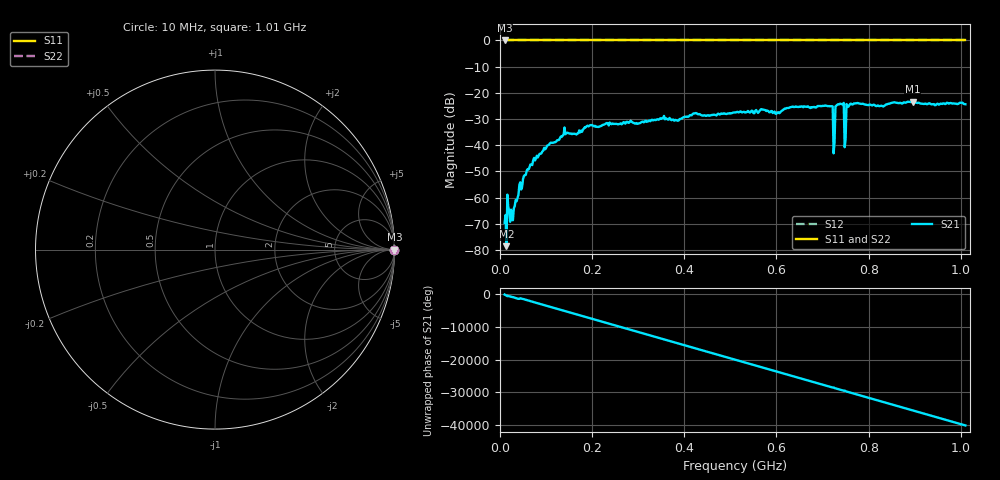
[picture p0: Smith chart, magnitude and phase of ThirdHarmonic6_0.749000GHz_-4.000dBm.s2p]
! 8/16/2025 1:02:45 AM
! C:\ANRITSUVNA\TEMP\TEMP.S2P
! CHANNEL.1
! TR.MEASUREMENT
! RAW.DATA
! RF.CORRECTION.OFF
! AVERAGING.OFF
! IF.BANDWIDTH: 5KHZ
! SWEEPTYPE:  FREQ.SWEEP(Linear)
! Reference Plane Port Info
! PORT:  PORT1  PORT2
! DISTANCE:  0  m  0  m
! TIME:  0  s  0  s
! PHASE.OFFSET:  0  deg.  0  deg.
! LOSS:  0  dB  0  dB
! REF.LOSS:  0  dB  0  dB
! REF.FREQ:  0  Hz  0  Hz
! Power Info
! POWER:  -20  dBm  -20  dBm
! EFF.POWER:  -20  dBm  -20  dBm
! SOURCE.ATTEN:  0  dB  0  dB
! TEST.ATTEN:  0  dB  0  dB
# GHZ S RI R 50.0
! FREQ.GHZ  S11RE  S11IM  S21RE  S21IM  S12RE  S12IM  S22RE  S22IM
!; PortSelection: Port_12
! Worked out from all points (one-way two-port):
!   501 points, 10 MHz to 1.01 GHz, reference 50 ohm
!   highest |S21| = -23.40 dB at 896 MHz (marker M1); lowest = -78.5 dB at 14 MHz (marker M2)
!   lowest |S11| = 0.0 dB at 10 MHz (marker M3)
!   |S11| at or under -10 dB: nowhere
!   |S22| runs from 0.0 to 0.0 dB; largest |S21 - S12| = 1.1
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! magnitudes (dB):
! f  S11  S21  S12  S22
! 10 MHz  0.0  -69.6  0.0  0.0
! 14 MHz  0.0  -78.5  0.0  0.0
! 20 MHz  0.0  -64.8  0.0  0.0
! 26 MHz  0.0  -68.1  0.0  0.0
! 54 MHz  0.0  -51.4  0.0  0.0
! 76 MHz  0.0  -45.8  0.0  0.0
! 142 MHz  0.0  -35.8  0.0  0.0
! 178 MHz  0.0  -34.9  0.0  0.0
! 344 MHz  0.0  -30.2  0.0  0.0
! 510 MHz  0.0  -27.5  0.0  0.0
! 678 MHz  0.0  -25.5  0.0  0.0
! 718 MHz  0.0  -25.1  0.0  0.0
! 724 MHz  0.0  -43.1  0.0  0.0
! 728 MHz  0.0  -25.2  0.0  0.0
! 736 MHz  0.0  -24.4  0.0  0.0
! 742 MHz  0.0  -24.3  0.0  0.0
! 746 MHz  0.0  -23.8  0.0  0.0
! 752 MHz  0.0  -24.3  0.0  0.0
! 756 MHz  0.0  -25.3  0.0  0.0
! 844 MHz  0.0  -24.2  0.0  0.0
! 896 MHz  0.0  -23.4  0.0  0.0
! 1.01 GHz  0.0  -24.3  0.0  0.0
